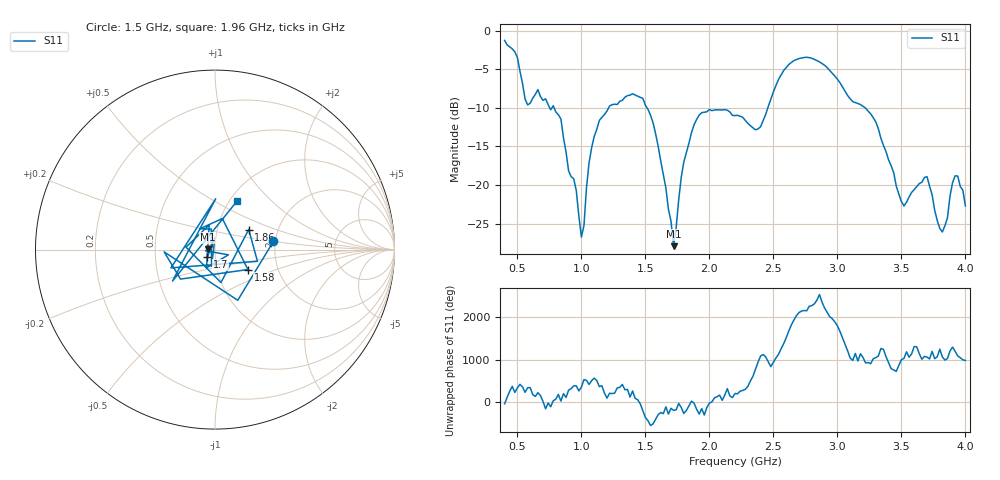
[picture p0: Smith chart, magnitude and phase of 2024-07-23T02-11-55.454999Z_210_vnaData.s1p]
!Created with skrf (http://scikit-rf.org).
# Hz S RI R 50.0
!freq ReS11 ImS11
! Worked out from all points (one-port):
!   181 points, 400 MHz to 4 GHz, reference 50 ohm
!   lowest |S11| = -27.9 dB at 1.72 GHz (marker M1), VSWR 1.08, Z = 46.1 + j0.244 ohm
!   |S11| at or under -10 dB: 787 MHz to 1.213 GHz (425.6 MHz wide, 42.6 % of centre); 1.513 GHz to 2.456 GHz (943.6 MHz wide, 47.5 % of centre); 3.217 GHz to end of sweep (the widest 3 of 4)
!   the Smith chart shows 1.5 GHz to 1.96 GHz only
!   S11 on the Smith chart (normalised r, x): 1.5 GHz: 1.95, +0.20; 1.58 GHz: 1.40, -0.33; 1.7 GHz: 0.92, -0.08; 1.86 GHz: 1.42, +0.33; 1.96 GHz: 1.08, +0.64
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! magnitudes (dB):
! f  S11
! 400 MHz  -1.3
! 500 MHz  -3.5
! 580 MHz  -9.6
! 660 MHz  -7.6
! 860 MHz  -13.9
! 960 MHz  -20.7
! 1 GHz  -26.7
! 1.1 GHz  -13.7
! 1.3 GHz  -9.1
! 1.5 GHz  -9.7
! 1.58 GHz  -13.4
! 1.7 GHz  -24.7
! 1.72 GHz  -27.9
! 1.76 GHz  -21.9
! 1.86 GHz  -13.2
! 1.96 GHz  -10.6
! 2.2 GHz  -11.0
! 2.4 GHz  -12.4
! 2.66 GHz  -3.9
! 2.9 GHz  -4.5
! 3.1 GHz  -8.8
! 3.3 GHz  -11.8
! 3.5 GHz  -22.1
! 3.56 GHz  -21.5
! 3.7 GHz  -18.9
! 3.82 GHz  -26.1
! 3.92 GHz  -18.8
! 4 GHz  -22.7
